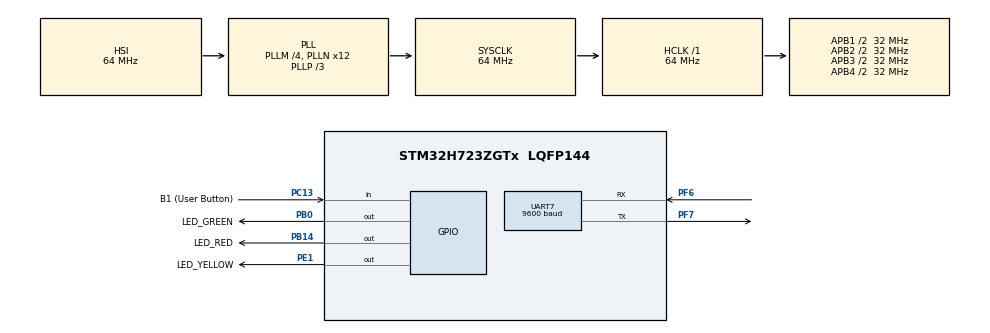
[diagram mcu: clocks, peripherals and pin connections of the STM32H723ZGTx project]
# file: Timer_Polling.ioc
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CORTEX_M7.default_mode_Activation=1
Mcu.Family=STM32H7
Mcu.Name=STM32H723ZGTx
Mcu.Package=LQFP144
NUCLEO-H723ZG.Bsp_Common_DEMO=true
NVIC.PriorityGroup=NVIC_PRIORITYGROUP_4
PA13(JTMS/SWDIO).GPIO_Label=SWDIO
PA13(JTMS/SWDIO).Signal=DEBUG_JTMS-SWDIO
PA14(JTCK/SWCLK).GPIO_Label=SWCLK
PA14(JTCK/SWCLK).Signal=DEBUG_JTCK-SWCLK
PB0.GPIO_Label=LED_GREEN
PB0.Signal=GPIO_Output
PB14.GPIO_Label=LED_RED
PB14.Signal=GPIO_Output
PC13.GPIO_Label=B1 (User Button)
PC13.Signal=GPIO_Input
PC14-OSC32_IN.Mode=LSE-External-Oscillator
PC14-OSC32_IN.Signal=RCC_OSC32_IN
PC15-OSC32_OUT.Mode=LSE-External-Oscillator
PC15-OSC32_OUT.Signal=RCC_OSC32_OUT
PD8.GPIO_Label=STLK_VCP_RX
PD8.Signal=USART3_TX
PD9.GPIO_Label=STLK_VCP_TX
PD9.Signal=USART3_RX
PE1.GPIO_Label=LED_YELLOW
PE1.Signal=GPIO_Output
PF6.Mode=Asynchronous
PF6.Signal=UART7_RX
PF7.Mode=Asynchronous
PF7.Signal=UART7_TX
PH0-OSC_IN.Mode=HSE-External-Clock-Source
PH0-OSC_IN.Signal=RCC_OSC_IN
ProjectManager.HeapSize=0x200
ProjectManager.StackSize=0x400
ProjectManager.TargetToolchain=STM32CubeIDE
RCC.ADCFreq_Value=608000000
RCC.APB1Freq_Value=32000000
RCC.APB2Freq_Value=32000000
RCC.APB3Freq_Value=32000000
RCC.APB4Freq_Value=32000000
RCC.CortexFreq_Value=64000000
RCC.D1PPRE=RCC_APB3_DIV2
RCC.D2PPRE1=RCC_APB1_DIV2
RCC.D2PPRE2=RCC_APB2_DIV2
RCC.D3PPRE=RCC_APB4_DIV2
RCC.DIVM1=4
RCC.DIVM2=1
RCC.DIVN1=12
RCC.DIVN2=19
RCC.DIVP1=3
RCC.DIVQ1=4
RCC.HCLKFreq_Value=64000000
RCC.HSE_VALUE=50000000
RCC.PLL2FRACN=0
RCC.PLL3FRACN=0
RCC.PLLFRACN=0
RCC.SYSCLKFreq_VALUE=64000000
RCC.SYSCLKSource=RCC_SYSCLKSOURCE_PLLCLK
RCC.USBCLockSelection=RCC_USBCLKSOURCE_HSI48
RCC.USBFreq_Value=48000000
TIM4.Period=63999
TIM4.Prescaler=499
UART7.BaudRate=9600
UART7.Parity=PARITY_NONE
VP_MEMORYMAP_VS_MEMORYMAP.Mode=CurAppReg
VP_NUCLEO-H723ZG_VS_BSP_COMMON.Mode=COMMON
VP_TIM4_VS_ClockSourceINT.Mode=Internal
board=NUCLEO-H723ZG

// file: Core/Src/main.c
/* USER CODE BEGIN Header */
/**
  ******************************************************************************
  * @file           : main.c
  * @brief          : Main program body
  ******************************************************************************
  * @attention
  *
  * Copyright (c) 2025 STMicroelectronics.
  * All rights reserved.
  *
  * This software is licensed under terms that can be found in the LICENSE file
  * in the root directory of this software component.
  * If no LICENSE file comes with this software, it is provided AS-IS.
  *
  ******************************************************************************
  */
/* USER CODE END Header */
#include "main.h"

/* USER CODE BEGIN Includes */
uint32_t Timer_count = 30000;
uint16_t ARR = 63999;
uint32_t prescaler = 499;
int timer_overflow = 0;
uint32_t start_tick = 0;
uint32_t stop_tick = 0;
char timer_millis[10];
char msg[] = "\nTimer elapsed\n";

/* USER CODE END Includes */

__IO uint32_t BspButtonState = BUTTON_RELEASED;

TIM_HandleTypeDef htim4;

UART_HandleTypeDef huart7;

void SystemClock_Config(void);
static void MPU_Config(void);
static void MX_GPIO_Init(void);
static void MX_TIM4_Init(void);
static void MX_UART7_Init(void);
/* USER CODE BEGIN PFP */
void Timer_set_cnt(uint32_t delay);
void Timer_Frequency_Cofig(uint32_t timer);

/* USER CODE END PFP */

/* USER CODE BEGIN 0 */
void Timer_set_cnt(uint32_t delay)
{
	Timer_Frequency_Cofig(delay);
	HAL_TIM_Base_Start(&htim4);
	start_tick = HAL_GetTick();
	HAL_GPIO_WritePin(LED_GREEN_GPIO_Port, LED_GREEN_Pin, SET);
}

void Timer_Frequency_Cofig(uint32_t timer)
{

	uint32_t desired_freq = 0;
	uint32_t timer_freq = 0;
	uint32_t sysclk = HAL_RCC_GetSysClockFreq();

//	HAL_UART_Transmit(&huart7, timer_millis, snprintf(timer_millis, sizeof(timer_millis),"%d ", HAL_RCC_GetSysClockFreq()), 100);

	timer_overflow = timer/1000;

	if(timer_overflow < 1)
	{
//		if(timer > 500)
//		{
//			prescaler = 399;
//		}
		timer_overflow = 1;

		desired_freq = (1000/timer);

		timer_freq = (sysclk/(prescaler+1));

		ARR = (timer_freq/desired_freq) - 1;

	//	timer_freq = (ARR+1)*desired_freq;
	//
	//	prescaler = (sysclk/timer_freq)-1;
	}
	else
	{
		prescaler = 999;
		ARR = 63999;
	}

	MX_TIM4_Init();

}

/* USER CODE END 0 */

int main(void)
{

  /* MPU Configuration--------------------------------------------------------*/
  MPU_Config();

  /* MCU Configuration--------------------------------------------------------*/

  /* Reset of all peripherals, Initializes the Flash interface and the Systick. */
  HAL_Init();

  /* Configure the system clock */
  SystemClock_Config();

  /* Initialize all configured peripherals */
  MX_GPIO_Init();
  MX_TIM4_Init();
  MX_UART7_Init();

  /* Infinite loop */
  /* USER CODE BEGIN WHILE */

  Timer_set_cnt(Timer_count);

  while (1)
  {
	  if(__HAL_TIM_GET_FLAG(&htim4, TIM_FLAG_UPDATE) != RESET)
	  {
		  stop_tick = HAL_GetTick();
		  timer_overflow--;
		  __HAL_TIM_CLEAR_FLAG(&htim4, TIM_FLAG_UPDATE);
//		  HAL_UART_Transmit(&huart7, timer_millis, snprintf(timer_millis, sizeof(timer_millis),"%d ", (TIM4->ARR)), 100);

		  if(timer_overflow == 0)
		  {
			  HAL_GPIO_WritePin(LED_GREEN_GPIO_Port, LED_GREEN_Pin, RESET);
			  HAL_UART_Transmit(&huart7, msg, sizeof(msg), 100);
			  HAL_UART_Transmit(&huart7, timer_millis, snprintf(timer_millis, sizeof(timer_millis),"%d ", (stop_tick-start_tick)), 100);
			  HAL_TIM_Base_Stop(&htim4);
		  }

	  }

    /* USER CODE END WHILE */

  }
}

void SystemClock_Config(void)
{
  RCC_OscInitTypeDef RCC_OscInitStruct = {0};
  RCC_ClkInitTypeDef RCC_ClkInitStruct = {0};

  /** Supply configuration update enable
  */
  HAL_PWREx_ConfigSupply(PWR_LDO_SUPPLY);

  /** Configure the main internal regulator output voltage
  */
  __HAL_PWR_VOLTAGESCALING_CONFIG(PWR_REGULATOR_VOLTAGE_SCALE3);

  while(!__HAL_PWR_GET_FLAG(PWR_FLAG_VOSRDY)) {}

  /** Initializes the RCC Oscillators according to the specified parameters
  * in the RCC_OscInitTypeDef structure.
  */
  RCC_OscInitStruct.OscillatorType = RCC_OSCILLATORTYPE_HSI;
  RCC_OscInitStruct.HSIState = RCC_HSI_DIV1;
  RCC_OscInitStruct.HSICalibrationValue = 64;
  RCC_OscInitStruct.PLL.PLLState = RCC_PLL_ON;
  RCC_OscInitStruct.PLL.PLLSource = RCC_PLLSOURCE_HSI;
  RCC_OscInitStruct.PLL.PLLM = 4;
  RCC_OscInitStruct.PLL.PLLN = 12;
  RCC_OscInitStruct.PLL.PLLP = 3;
  RCC_OscInitStruct.PLL.PLLQ = 4;
  RCC_OscInitStruct.PLL.PLLR = 2;
  RCC_OscInitStruct.PLL.PLLRGE = RCC_PLL1VCIRANGE_3;
  RCC_OscInitStruct.PLL.PLLVCOSEL = RCC_PLL1VCOWIDE;
  RCC_OscInitStruct.PLL.PLLFRACN = 0;
  if (HAL_RCC_OscConfig(&RCC_OscInitStruct) != HAL_OK)
  {
    Error_Handler();
  }

  /** Initializes the CPU, AHB and APB buses clocks
  */
  RCC_ClkInitStruct.ClockType = RCC_CLOCKTYPE_HCLK|RCC_CLOCKTYPE_SYSCLK
                              |RCC_CLOCKTYPE_PCLK1|RCC_CLOCKTYPE_PCLK2
                              |RCC_CLOCKTYPE_D3PCLK1|RCC_CLOCKTYPE_D1PCLK1;
  RCC_ClkInitStruct.SYSCLKSource = RCC_SYSCLKSOURCE_PLLCLK;
  RCC_ClkInitStruct.SYSCLKDivider = RCC_SYSCLK_DIV1;
  RCC_ClkInitStruct.AHBCLKDivider = RCC_HCLK_DIV1;
  RCC_ClkInitStruct.APB3CLKDivider = RCC_APB3_DIV2;
  RCC_ClkInitStruct.APB1CLKDivider = RCC_APB1_DIV2;
  RCC_ClkInitStruct.APB2CLKDivider = RCC_APB2_DIV2;
  RCC_ClkInitStruct.APB4CLKDivider = RCC_APB4_DIV2;

  if (HAL_RCC_ClockConfig(&RCC_ClkInitStruct, FLASH_LATENCY_1) != HAL_OK)
  {
    Error_Handler();
  }
}

static void MX_TIM4_Init(void)
{

  TIM_ClockConfigTypeDef sClockSourceConfig = {0};
  TIM_MasterConfigTypeDef sMasterConfig = {0};

  htim4.Instance = TIM4;
  htim4.Init.Prescaler = prescaler;
  htim4.Init.CounterMode = TIM_COUNTERMODE_UP;
  htim4.Init.Period = ARR;
  htim4.Init.ClockDivision = TIM_CLOCKDIVISION_DIV1;
  htim4.Init.AutoReloadPreload = TIM_AUTORELOAD_PRELOAD_DISABLE;
  if (HAL_TIM_Base_Init(&htim4) != HAL_OK)
  {
    Error_Handler();
  }
  sClockSourceConfig.ClockSource = TIM_CLOCKSOURCE_INTERNAL;
  if (HAL_TIM_ConfigClockSource(&htim4, &sClockSourceConfig) != HAL_OK)
  {
    Error_Handler();
  }
  sMasterConfig.MasterOutputTrigger = TIM_TRGO_RESET;
  sMasterConfig.MasterSlaveMode = TIM_MASTERSLAVEMODE_DISABLE;
  if (HAL_TIMEx_MasterConfigSynchronization(&htim4, &sMasterConfig) != HAL_OK)
  {
    Error_Handler();
  }

}

static void MX_UART7_Init(void)
{

  huart7.Instance = UART7;
  huart7.Init.BaudRate = 9600;
  huart7.Init.WordLength = UART_WORDLENGTH_8B;
  huart7.Init.StopBits = UART_STOPBITS_1;
  huart7.Init.Parity = UART_PARITY_NONE;
  huart7.Init.Mode = UART_MODE_TX_RX;
  huart7.Init.HwFlowCtl = UART_HWCONTROL_NONE;
  huart7.Init.OverSampling = UART_OVERSAMPLING_16;
  huart7.Init.OneBitSampling = UART_ONE_BIT_SAMPLE_DISABLE;
  huart7.Init.ClockPrescaler = UART_PRESCALER_DIV1;
  huart7.AdvancedInit.AdvFeatureInit = UART_ADVFEATURE_NO_INIT;
  if (HAL_UART_Init(&huart7) != HAL_OK)
  {
    Error_Handler();
  }
  if (HAL_UARTEx_SetTxFifoThreshold(&huart7, UART_TXFIFO_THRESHOLD_1_8) != HAL_OK)
  {
    Error_Handler();
  }
  if (HAL_UARTEx_SetRxFifoThreshold(&huart7, UART_RXFIFO_THRESHOLD_1_8) != HAL_OK)
  {
    Error_Handler();
  }
  if (HAL_UARTEx_DisableFifoMode(&huart7) != HAL_OK)
  {
    Error_Handler();
  }

}

static void MX_GPIO_Init(void)
{
  GPIO_InitTypeDef GPIO_InitStruct = {0};

  /* GPIO Ports Clock Enable */
  __HAL_RCC_GPIOC_CLK_ENABLE();
  __HAL_RCC_GPIOF_CLK_ENABLE();
  __HAL_RCC_GPIOH_CLK_ENABLE();
  __HAL_RCC_GPIOB_CLK_ENABLE();
  __HAL_RCC_GPIOD_CLK_ENABLE();
  __HAL_RCC_GPIOA_CLK_ENABLE();
  __HAL_RCC_GPIOE_CLK_ENABLE();

  /*Configure GPIO pin Output Level */
  HAL_GPIO_WritePin(GPIOB, LED_GREEN_Pin|LED_RED_Pin, GPIO_PIN_RESET);

  /*Configure GPIO pin Output Level */
  HAL_GPIO_WritePin(LED_YELLOW_GPIO_Port, LED_YELLOW_Pin, GPIO_PIN_RESET);

  /*Configure GPIO pin : B1_Pin */
  GPIO_InitStruct.Pin = B1_Pin;
  GPIO_InitStruct.Mode = GPIO_MODE_INPUT;
  GPIO_InitStruct.Pull = GPIO_NOPULL;
  HAL_GPIO_Init(B1_GPIO_Port, &GPIO_InitStruct);

  /*Configure GPIO pins : LED_GREEN_Pin LED_RED_Pin */
  GPIO_InitStruct.Pin = LED_GREEN_Pin|LED_RED_Pin;
  GPIO_InitStruct.Mode = GPIO_MODE_OUTPUT_PP;
  GPIO_InitStruct.Pull = GPIO_NOPULL;
  GPIO_InitStruct.Speed = GPIO_SPEED_FREQ_LOW;
  HAL_GPIO_Init(GPIOB, &GPIO_InitStruct);

  /*Configure GPIO pins : STLK_VCP_RX_Pin STLK_VCP_TX_Pin */
  GPIO_InitStruct.Pin = STLK_VCP_RX_Pin|STLK_VCP_TX_Pin;
  GPIO_InitStruct.Mode = GPIO_MODE_AF_PP;
  GPIO_InitStruct.Pull = GPIO_NOPULL;
  GPIO_InitStruct.Speed = GPIO_SPEED_FREQ_LOW;
  GPIO_InitStruct.Alternate = GPIO_AF7_USART3;
  HAL_GPIO_Init(GPIOD, &GPIO_InitStruct);

  /*Configure GPIO pin : LED_YELLOW_Pin */
  GPIO_InitStruct.Pin = LED_YELLOW_Pin;
  GPIO_InitStruct.Mode = GPIO_MODE_OUTPUT_PP;
  GPIO_InitStruct.Pull = GPIO_NOPULL;
  GPIO_InitStruct.Speed = GPIO_SPEED_FREQ_LOW;
  HAL_GPIO_Init(LED_YELLOW_GPIO_Port, &GPIO_InitStruct);

}

 /* MPU Configuration */

void MPU_Config(void)
{
  MPU_Region_InitTypeDef MPU_InitStruct = {0};

  /* Disables the MPU */
  HAL_MPU_Disable();

  /** Initializes and configures the Region and the memory to be protected
  */
  MPU_InitStruct.Enable = MPU_REGION_ENABLE;
  MPU_InitStruct.Number = MPU_REGION_NUMBER0;
  MPU_InitStruct.BaseAddress = 0x0;
  MPU_InitStruct.Size = MPU_REGION_SIZE_4GB;
  MPU_InitStruct.SubRegionDisable = 0x87;
  MPU_InitStruct.TypeExtField = MPU_TEX_LEVEL0;
  MPU_InitStruct.AccessPermission = MPU_REGION_NO_ACCESS;
  MPU_InitStruct.DisableExec = MPU_INSTRUCTION_ACCESS_DISABLE;
  MPU_InitStruct.IsShareable = MPU_ACCESS_SHAREABLE;
  MPU_InitStruct.IsCacheable = MPU_ACCESS_NOT_CACHEABLE;
  MPU_InitStruct.IsBufferable = MPU_ACCESS_NOT_BUFFERABLE;

  HAL_MPU_ConfigRegion(&MPU_InitStruct);
  /* Enables the MPU */
  HAL_MPU_Enable(MPU_PRIVILEGED_DEFAULT);

}

void Error_Handler(void)
{
  __disable_irq();
  while (1)
  {
  }
}
